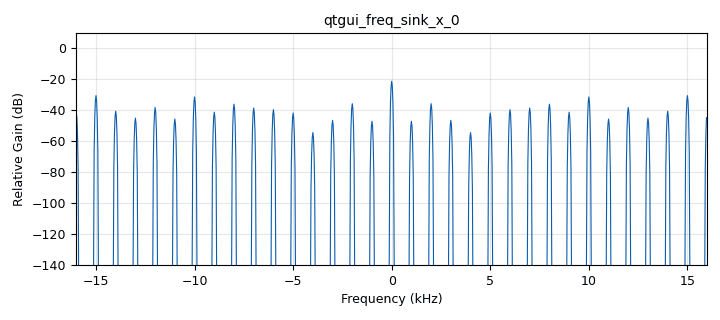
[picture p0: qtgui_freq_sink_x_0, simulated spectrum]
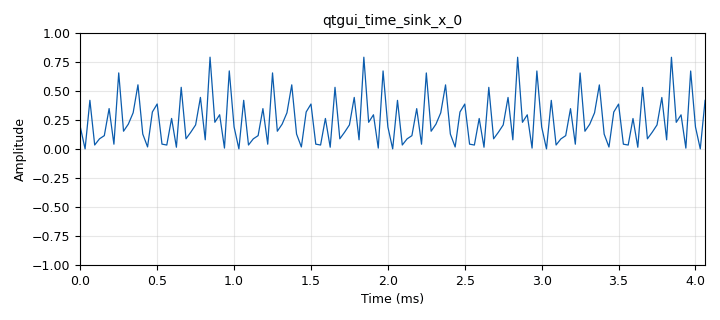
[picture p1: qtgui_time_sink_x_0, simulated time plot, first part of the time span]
options:
  parameters:
    author: Jeison_Carlos
    generate_options: qt_gui
    id: parte2_c
    output_language: python
    title: Multiplicacion
  states: {}

blocks:
- name: samp_rate
  id: variable
  parameters:
    value: '32000'
  states: {}
- name: analog_sig_source_x_0
  id: analog_sig_source_x
  parameters:
    amp: '1'
    freq: '49000'
    offset: '0'
    phase: '0'
    samp_rate: samp_rate
    type: float
    waveform: analog.GR_SAW_WAVE
  states: {}
- name: analog_sig_source_x_1
  id: analog_sig_source_x
  parameters:
    amp: '1'
    freq: 5110e3
    offset: '0'
    phase: '0'
    samp_rate: samp_rate
    type: float
    waveform: analog.GR_SAW_WAVE
  states: {}
- name: blocks_multiply_xx_0
  id: blocks_multiply_xx
  parameters:
    type: float
  states: {}
- name: qtgui_freq_sink_x_0
  id: qtgui_freq_sink_x
  parameters:
    bw: samp_rate
    fc: '0'
    fftsize: '1024'
    type: float
    wintype: firdes.WIN_BLACKMAN_hARRIS
  states: {}
- name: qtgui_time_sink_x_0
  id: qtgui_time_sink_x
  parameters:
    size: '1024'
    srate: samp_rate
    type: float
  states: {}

connections:
- [analog_sig_source_x_0, '0', blocks_multiply_xx_0, '0']
- [analog_sig_source_x_1, '0', blocks_multiply_xx_0, '1']
- [blocks_multiply_xx_0, '0', qtgui_freq_sink_x_0, '0']
- [blocks_multiply_xx_0, '0', qtgui_time_sink_x_0, '0']

metadata:
  file_format: 1
